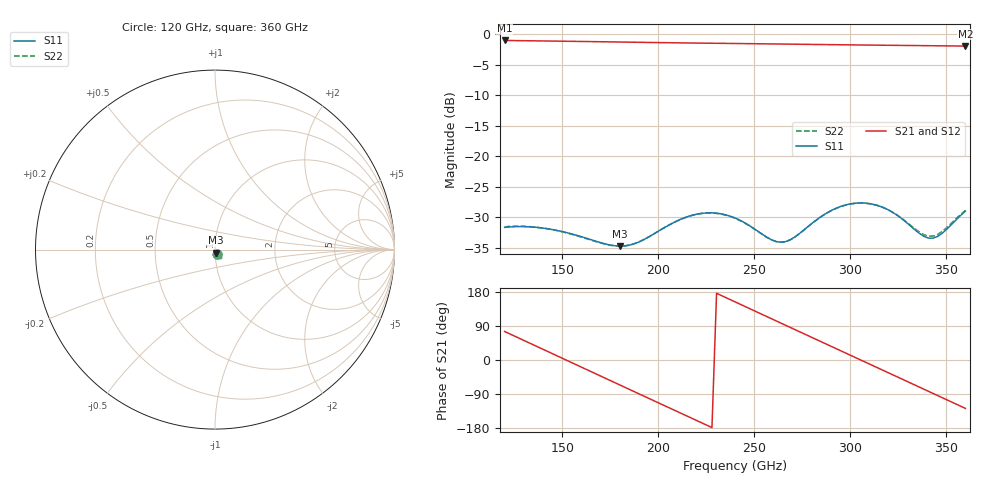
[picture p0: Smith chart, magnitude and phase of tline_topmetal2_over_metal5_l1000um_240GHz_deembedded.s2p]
! Created with skrf 2.2.0 (http://scikit-rf.org).
# GHz S DB R 50.0
! Port[1] = P1
! Port[2] = P2
!freq dBS11 angS11 dBS21 angS21 dBS12 angS12 dBS22 angS22
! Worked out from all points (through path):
!   101 points, 120 GHz to 360 GHz, reference 50 ohm
!   highest |S21| = -1.05 dB at 120 GHz (marker M1); lowest = -2.0 dB at 360 GHz (marker M2)
!   group delay of S21, straight-line fit = 6.51 ps
!   lowest |S11| = -34.7 dB at 180 GHz (marker M3), VSWR 1.04, Z = 50.5 - j1.79 ohm
!   |S11| at or under -10 dB: start of sweep to end of sweep
!   |S22| runs from -34.7 to -27.7 dB; largest |S21 - S12| = 9.9e-14
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120  -31.65 -62.9  -1.05 75.2  -1.05 75.2  -31.55 -63.8
129.6  -31.53 -69.9  -1.09 52.7  -1.09 52.7  -31.48 -71.0
141.6  -31.84 -77.6  -1.14 24.5  -1.14 24.5  -31.85 -78.7
151.2  -32.42 -82.1  -1.18 1.9  -1.18 1.9  -32.47 -83.0
160.8  -33.25 -84.1  -1.22 -20.7  -1.22 -20.7  -33.32 -84.7
180  -34.72 -74.5  -1.31 -65.8  -1.31 -65.8  -34.73 -74.6
189.6  -34.09 -64.8  -1.35 -88.4  -1.35 -88.4  -34.07 -65.2
201.6  -32.00 -60.4  -1.41 -116.5  -1.41 -116.5  -32.00 -61.0
220.8  -29.44 -74.0  -1.48 -161.5  -1.48 -161.5  -29.47 -74.5
230.4  -29.33 -84.4  -1.52 176.0  -1.52 176.0  -29.37 -84.8
240  -30.12 -93.6  -1.55 153.5  -1.55 153.5  -30.16 -93.8
252  -32.30 -97.0  -1.59 125.3  -1.59 125.3  -32.33 -97.2
261.6  -33.99 -86.0  -1.63 102.8  -1.63 102.8  -34.00 -86.1
271.2  -33.22 -68.4  -1.67 80.3  -1.67 80.3  -33.23 -68.6
280.8  -30.82 -63.0  -1.70 57.8  -1.70 57.8  -30.84 -63.1
292.8  -28.50 -70.5  -1.75 29.7  -1.75 29.7  -28.53 -70.6
302.4  -27.70 -81.2  -1.79 7.2  -1.79 7.2  -27.73 -81.1
312  -27.87 -92.5  -1.82 -15.3  -1.82 -15.3  -27.89 -92.2
321.6  -29.10 -101.6  -1.85 -37.7  -1.85 -37.7  -29.08 -100.9
340.8  -33.41 -87.3  -1.91 -82.7  -1.91 -82.7  -33.10 -86.9
350.4  -31.92 -66.0  -1.94 -105.2  -1.94 -105.2  -31.66 -67.1
360  -29.00 -62.7  -1.97 -127.7  -1.97 -127.7  -28.87 -64.2
